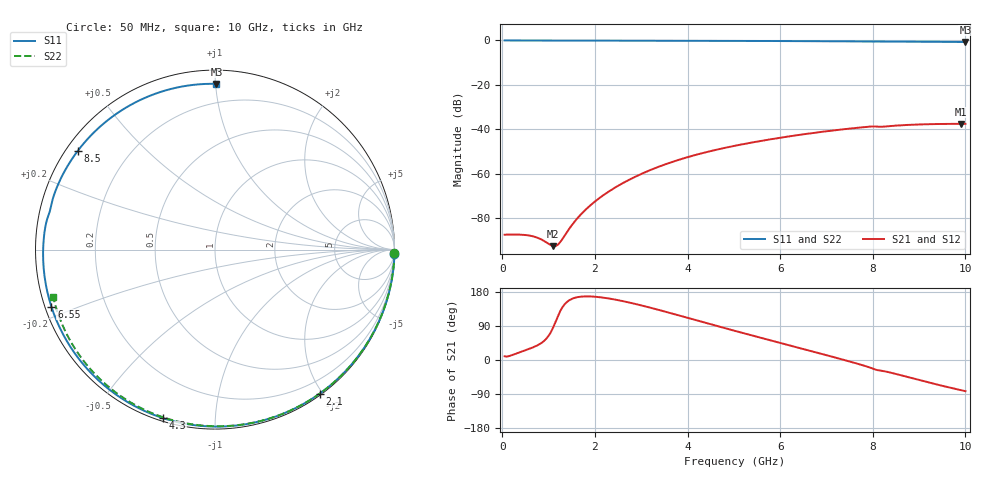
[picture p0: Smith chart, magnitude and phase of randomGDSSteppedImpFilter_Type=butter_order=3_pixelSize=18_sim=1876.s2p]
! freq	dB(S11)	phase(S11)	dB(S12)	phase(S12)
!  dB(S21)	phase(S21)	dB(S22)	phase(S22)
!S-par simulation data
#  GHz  S  DB  R 50
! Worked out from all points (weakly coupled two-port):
!   200 points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, 50 MHz to 10 GHz, reference 50 ohm
!   highest |S21| = -37.58 dB at 9.9 GHz (marker M1); lowest = -92.7 dB at 1.1 GHz (marker M2)
!   lowest |S11| = -0.7 dB at 10 GHz (marker M3), VSWR 25.13, Z = 4.01 + j50.3 ohm
!   |S11| at or under -10 dB: nowhere
!   |S22| runs from -0.5 to 0.0 dB; largest |S21 - S12| = 0
!   S11 on the Smith chart (normalised r, x): 50 MHz: 0, -87; 2.1 GHz: 0.02, -1.96; 4.3 GHz: 0.01, -0.74; 6.55 GHz: 0.02, -0.17; 8.5 GHz: 0.03, +0.32; 10 GHz: 0.08, +1.01
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0.05  -0.00 -1.3  -87.52 9.9  -87.52 9.9  -0.00 -1.0
0.55  -0.01 -14.5  -87.80 28.0  -87.80 28.0  -0.01 -10.4
1.1  -0.03 -28.7  -92.68 86.2  -92.68 86.2  -0.03 -20.7
1.6  -0.05 -41.5  -80.63 165.2  -80.63 165.2  -0.04 -29.9
1.75  -0.06 -45.3  -77.23 167.7  -77.23 167.7  -0.04 -32.7
2.1  -0.07 -54.1  -70.96 165.8  -70.96 165.8  -0.05 -39.0
2.7  -0.09 -68.9  -63.20 152.8  -63.20 152.8  -0.06 -49.7
3.4  -0.11 -85.7  -56.72 131.5  -56.72 131.5  -0.08 -61.9
4.3  -0.15 -107.0  -50.88 101.1  -50.88 101.1  -0.11 -77.0
5.05  -0.19 -124.6  -47.34 76.0  -47.34 76.0  -0.14 -89.1
5.85  -0.25 -143.5  -44.34 50.0  -44.34 50.0  -0.17 -101.6
6.55  -0.31 -160.8  -42.15 27.4  -42.15 27.4  -0.21 -112.2
6.7  -0.32 -164.6  -41.72 22.6  -41.72 22.6  -0.22 -114.5
7.5  -0.40 174.0  -39.72 -3.9  -39.72 -3.9  -0.28 -126.4
7.95  -0.47 161.4  -38.80 -20.5  -38.80 -20.5  -0.32 -133.0
8.35  -0.50 149.1  -38.62 -32.3  -38.62 -32.3  -0.36 -138.9
8.5  -0.52 144.2  -38.37 -36.9  -38.37 -36.9  -0.37 -141.1
8.85  -0.56 132.6  -37.97 -48.1  -37.97 -48.1  -0.41 -146.3
9.25  -0.61 118.4  -37.71 -60.6  -37.71 -60.6  -0.45 -152.2
9.6  -0.65 105.3  -37.60 -71.0  -37.60 -71.0  -0.49 -157.5
9.9  -0.68 93.5  -37.58 -79.5  -37.58 -79.5  -0.53 -162.1
10  -0.69 89.5  -37.58 -82.2  -37.58 -82.2  -0.55 -163.6
